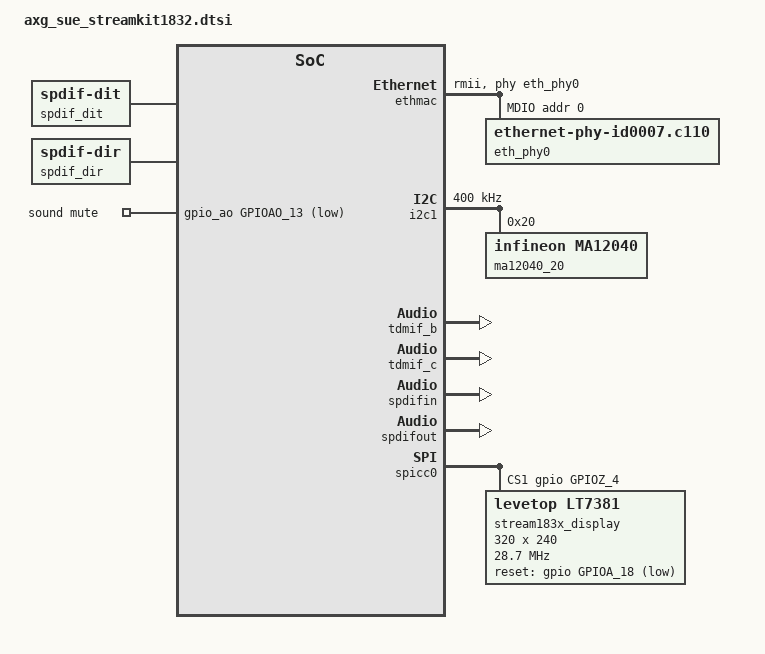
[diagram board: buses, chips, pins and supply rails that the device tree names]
// SPDX-License-Identifier: (GPL-2.0+ OR MIT)
/*
 * Copyright (C) 2022 StreamUnlimited, Inc. All rights reserved.
 */


/*
 * DT for default configuration of Stream183x external IOs.
 */


/ {
	sue {
		carrierboard = "streamkit1832";
	};

	aliases {
		spi0 = &spicc0;
	};

	spdif_dit: audio-codec-2 {
		#sound-dai-cells = <0>;
		compatible = "linux,spdif-dit";
		status = "okay";
		sound-name-prefix = "DIT";
	};

	spdif_dir: audio-codec-4 {
		#sound-dai-cells = <0>;
		compatible = "linux,spdif-dir";
		status = "okay";
		sound-name-prefix = "DIR";
	};

	dummy_codec: dummy{
		#sound-dai-cells = <0>;
		compatible = "meson,dummy-codec";
		playback-rates = <44100 48000 64000 88200 96000 176400 192000>;
		status = "okay";
		sound-name-prefix = "DUMMY";
	};

	sound: sound {
		compatible = "amlogic,axg-sound-card";
		model = "AXG-S400";
		assigned-clocks = <&clkc CLKID_HIFI_PLL>,
				  <&clkc CLKID_MPLL0>,
				  <&clkc CLKID_MPLL1>;
		assigned-clock-parents = <0>, <0>, <0>;
		assigned-clock-rates = <491520000>,
				       <270950400>,
				       <393216000>;
		status = "okay";

		mute-gpios = <&gpio_ao GPIOAO_13 GPIO_ACTIVE_LOW>;

		dai-link-0 {
			sound-dai = <&frddr_a>;
		};

		dai-link-1 {
			sound-dai = <&frddr_b>;
		};

		dai-link-2 {
			sound-dai = <&frddr_c>;
		};

		dai-link-3 {
			sound-dai = <&toddr_a>;
		};

		dai-link-4 {
			sound-dai = <&toddr_b>;
		};

		dai-link-5 {
			sound-dai = <&toddr_c>;
		};
	};
};

&ethmac {
	status = "okay";
	pinctrl-0 = <&eth_rmii_x_pins>;
	pinctrl-names = "default";
	phy-handle = <&eth_phy0>;
	phy-mode = "rmii";

	mdio {
		compatible = "snps,dwmac-mdio";
		#address-cells = <1>;
		#size-cells = <0>;
		snps,reset-gpio = <&gpio_ao GPIOAO_7 GPIO_ACTIVE_LOW>;
		snps,reset-active-low = <1>;
		snps,reset-delays-us = <1000 10000 1000>;

		eth_phy0: ethernet-phy@0 {
			reg = <0>;
			interrupt-names = "macirq";
			compatible = "ethernet-phy-id0007.c110";
		};
	};
};

&i2c1 {
	status = "okay";
	pinctrl-names="default";
	pinctrl-0=<&i2c1_z_pins>;
	clock-frequency = <400000>;

	ma12040_20: ma12040@20 {
		compatible = "infineon,ma12040";
		#sound-dai-cells = <0>;
		reg = <0x20>;
		sound-name-prefix = "SPK1";
	};
};

&tdmif_b {
	pinctrl-0 = <&tdmb_sclk_pins>, <&tdmb_fs_pins>,
		    <&tdmb_din0_pins>;
	pinctrl-names = "default";
	status = "okay";

	assigned-clocks = <&clkc_audio AUD_CLKID_MST_B_MCLK_SEL>;
	assigned-clock-parents = <&clkc CLKID_HIFI_PLL>;
};

&tdmif_c {
	pinctrl-0 = <&tdmc_sclk_pins>, <&tdmc_fs_pins>,
		    <&tdmc_dout0_pins>, <&tdmc_din1_pins>,
		    <&mclk_c_pins>;
	pinctrl-names = "default";
	status = "okay";
	enable-drift-compensator;

	assigned-clocks = <&clkc_audio AUD_CLKID_MST_C_MCLK_SEL>;
	assigned-clock-parents = <&clkc CLKID_HIFI_PLL>;
};

&spdifin {
	pinctrl-0 = <&spdif_in_a19_pins>;
	pinctrl-names = "default";
	status = "okay";
};

&toddr_c {
	compatible = "amlogic,axg-toddr-spdif";
};

&spdifout {
	pinctrl-0 = <&spdif_out_a20_pins>;
	pinctrl-names = "default";
	status = "okay";
};


&spicc0 {
	status = "okay";
	pinctrl-names= "default";
	pinctrl-0=<&spi0_pins>;
	num-cs = <2>;
	cs-gpios = <0>, <&gpio GPIOZ_4 GPIO_ACTIVE_HIGH>;

	stream183x_display: spi@1 {
		#address-cells = <1>;
		#size-cells = <0>;
		compatible = "levetop,lt7381";
		status = "okay";
		reg = <1>;
		spi-max-frequency = <28700000>;
		spi-cpol;
		spi-cpha;
		buswidth = <8>;
		rotate = <0>;
		width = <320>;
		height = <240>;
		bgr;
		reset-gpios = <&gpio GPIOA_18 GPIO_ACTIVE_LOW>;
		debug = <0>;
		xtal-frequency = <10000000>;
	};
};
